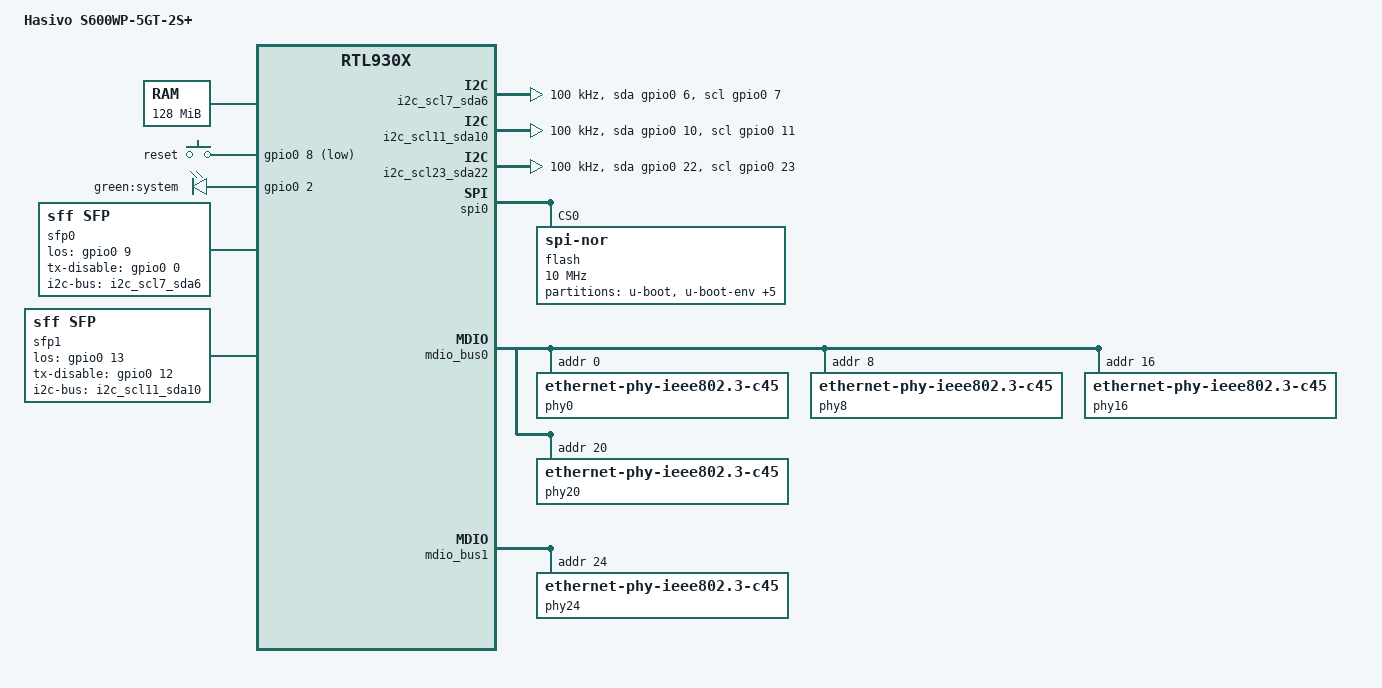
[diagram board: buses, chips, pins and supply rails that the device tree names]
// SPDX-License-Identifier: GPL-2.0-or-later
/dts-v1/;

#include "rtl930x.dtsi"

#include <dt-bindings/input/input.h>
#include <dt-bindings/gpio/gpio.h>
#include <dt-bindings/leds/common.h>

/ {
	compatible = "hasivo,s600wp-5gt-2s+";
	model = "Hasivo S600WP-5GT-2S+";

	memory@0 {
		device_type = "memory";
		reg = <0x00000000 0x08000000>; /* 128 MiB */
	};

	aliases {
		led-boot = &led_sys;
		led-failsafe = &led_sys;
		led-running = &led_sys;
		led-upgrade = &led_sys;
		label-mac-device = &ethernet0;
	};

	chosen {
		stdout-path = "serial0:38400n8";
	};

	keys {
		compatible = "gpio-keys";
		button-reset {
			label = "reset";
			gpios = <&gpio0 8 GPIO_ACTIVE_LOW>;
			linux,code = <KEY_RESTART>;
		};
	};

	leds {
		compatible = "gpio-leds";

		pinctrl-names = "default";
		pinctrl-0 = <&pinmux_disable_sys_led>;

		led_sys: led-0 {
			label = "green:system";
			gpios = <&gpio0 2 GPIO_ACTIVE_HIGH>;
			linux,default-trigger = "heartbeat";
		};
	};

	led_set: led_set {
		compatible = "realtek,rtl9300-leds";

		/* RJ45 ports */
		led_set0 = <
		(	// GREEN LEFT RJ45 - 1G link, blink on activity
			RTL93XX_LED_SET_1G |
			RTL93XX_LED_SET_LINK |
			RTL93XX_LED_SET_ACT
		)
		(	// GREEN RIGHT RJ45 - 10M/100M link, blink on activity
			RTL93XX_LED_SET_10M |
			RTL93XX_LED_SET_100M |
			RTL93XX_LED_SET_LINK |
			RTL93XX_LED_SET_ACT
		)
		(	// ORANGE LEFT RJ45 - 2.5G link, blink on activity
			RTL93XX_LED_SET_2P5G |
			RTL93XX_LED_SET_LINK |
			RTL93XX_LED_SET_ACT
		)
		>;

		/* SFP+ ports */
		led_set1 = <
		(	// GREEN TOP 10G LINK
			RTL93XX_LED_SET_10G |
			RTL93XX_LED_SET_LINK
		)
		(	// GREEN BOTTOM 1G LINK
			RTL93XX_LED_SET_1G |
			RTL93XX_LED_SET_LINK
		)
		>;
	};

	i2c_scl7_sda6: i2c {
		compatible = "i2c-gpio";
		#address-cells = <1>;
		#size-cells = <0>;

		scl-gpios = <&gpio0 7 (GPIO_ACTIVE_HIGH | GPIO_OPEN_DRAIN)>;
		sda-gpios = <&gpio0 6 (GPIO_ACTIVE_HIGH | GPIO_OPEN_DRAIN)>;
		status = "okay";

		clock-frequency = <100000>;
	};

	i2c_scl11_sda10: i2c {
		compatible = "i2c-gpio";
		#address-cells = <1>;
		#size-cells = <0>;

		scl-gpios = <&gpio0 11 (GPIO_ACTIVE_HIGH | GPIO_OPEN_DRAIN)>;
		sda-gpios = <&gpio0 10 (GPIO_ACTIVE_HIGH | GPIO_OPEN_DRAIN)>;
		status = "okay";

		clock-frequency = <100000>;
	};

	i2c_scl23_sda22: i2c {
		compatible = "i2c-gpio";
		#address-cells = <1>;
		#size-cells = <0>;

		scl-gpios = <&gpio0 23 (GPIO_ACTIVE_HIGH | GPIO_OPEN_DRAIN)>;
		sda-gpios = <&gpio0 22 (GPIO_ACTIVE_HIGH | GPIO_OPEN_DRAIN)>;
		status = "okay";

		clock-frequency = <100000>;
	};

	sfp0: sfp-p26 {
		compatible = "sff,sfp";
		i2c-bus = <&i2c_scl7_sda6>;
		los-gpio = <&gpio0 9 GPIO_ACTIVE_HIGH>;
		tx-disable-gpio = <&gpio0 0 GPIO_ACTIVE_HIGH>;
		maximum-power-milliwatt = <2900>;
		#thermal-sensor-cells = <0>;
	};

	sfp1: sfp-p27 {
		compatible = "sff,sfp";
		i2c-bus = <&i2c_scl11_sda10>;
		los-gpio = <&gpio0 13 GPIO_ACTIVE_HIGH>;
		tx-disable-gpio = <&gpio0 12 GPIO_ACTIVE_HIGH>;
		maximum-power-milliwatt = <2900>;
		#thermal-sensor-cells = <0>;
	};
};

&spi0 {
	status = "okay";

	flash@0 {
		compatible = "jedec,spi-nor";
		reg = <0>;
		spi-max-frequency = <10000000>;

		partitions {
			compatible = "fixed-partitions";
			#address-cells = <1>;
			#size-cells = <1>;

			/* stock is LOADER */
			partition@0 {
				label = "u-boot";
				reg = <0x0000000 0x00e0000>;
				read-only;
			};

			/* stock is BDINFO */
			partition@e0000 {
				label = "u-boot-env";
				reg = <0x00e0000 0x0010000>;

				nvmem-layout {
					compatible = "u-boot,env";

					macaddr_ubootenv_ethaddr: ethaddr {
						#nvmem-cell-cells = <1>;
					};
					serialnumber_ubootenv: serialnumber {
						#nvmem-cell-cells = <1>;
					};
					pse_bt_port_no_ubootenv: pse_bt_port_no {
						#nvmem-cell-cells = <1>;
					};
					pse_existed_flag_ubootenv: pse_existed_flag {
						#nvmem-cell-cells = <1>;
					};
					pse_power_bank_ubootenv: pse_power_bank {
						#nvmem-cell-cells = <1>;
					};
				};
			};

			/* stock is SYSINFO */
			partition@f0000 {
				label = "u-boot-env2";
				reg = <0x00f0000 0x0010000>;
				read-only;
			};

			/* stock is JFFS2 */
			partition@100000 {
				label = "jffs";
				reg = <0x0100000 0x0100000>;
			};

			/* stock is JFFS2 */
			partition@200000 {
				label = "jffs2";
				reg = <0x0200000 0x0100000>;
			};

			/* stock is RUNTIME */
			partition@300000 {
				compatible = "openwrt,uimage", "denx,uimage";
				label = "firmware";
				reg = <0x0300000 0x0c00000>;
			};

			/* stock is OEMINFO */
			partition@f00000 {
				label = "oeminfo";
				reg = <0x0f00000 0x0100000>;
				read-only;
			};
		};
	};
};


&ethernet0 {
	nvmem-cells = <&macaddr_ubootenv_ethaddr 0>;
	nvmem-cell-names = "mac-address";
};

&mdio_bus0 {
	/* External RTL8221B PHY */
	phy0: ethernet-phy@1 {
		reg = <0>;
		compatible = "ethernet-phy-ieee802.3-c45";
		realtek,smi-address = <1>;
	};

	/* External RTL8221B PHY */
	phy8: ethernet-phy@8 {
		reg = <8>;
		compatible = "ethernet-phy-ieee802.3-c45";
		realtek,smi-address = <2>;
	};

	/* External RTL8221B PHY */
	phy16: ethernet-phy@16 {
		reg = <16>;
		compatible = "ethernet-phy-ieee802.3-c45";
		realtek,smi-address = <3>;
	};

	/* External RTL8221B PHY */
	phy20: ethernet-phy@20 {
		reg = <20>;
		compatible = "ethernet-phy-ieee802.3-c45";
		realtek,smi-address = <4>;
	};
};

&mdio_bus1 {
	/* External RTL8221B PHY */
	phy24: ethernet-phy@24 {
		reg = <24>;
		compatible = "ethernet-phy-ieee802.3-c45";
		realtek,smi-address = <1>;
	};
};

&switch0 {
	ports {
		#address-cells = <1>;
		#size-cells = <0>;

		port@0 {
			reg = <0>;
			label = "lan1";
			pcs-handle = <&serdes2>;
			phy-handle = <&phy0>;
			phy-mode = "sgmii";
			managed = "in-band-status";
			led-set = <0>;
		};

		port@8 {
			reg = <8>;
			label = "lan2";
			pcs-handle = <&serdes3>;
			phy-handle = <&phy8>;
			phy-mode = "sgmii";
			managed = "in-band-status";
			led-set = <0>;
		};

		port@16 {
			reg = <16>;
			label = "lan3";
			pcs-handle = <&serdes4>;
			phy-handle = <&phy16>;
			phy-mode = "sgmii";
			managed = "in-band-status";
			led-set = <0>;
		};

		port@20 {
			reg = <20>;
			label = "lan4";
			pcs-handle = <&serdes5>;
			phy-handle = <&phy20>;
			phy-mode = "sgmii";
			managed = "in-band-status";
			led-set = <0>;
		};

		port@24 {
			reg = <24>;
			label = "lan5";
			pcs-handle = <&serdes6>;
			phy-handle = <&phy24>;
			phy-mode = "sgmii";
			managed = "in-band-status";
			led-set = <0>;
		};

		port@26 {
			reg = <26>;
			label = "lan6";
			pcs-handle = <&serdes8>;
			phy-mode = "1000base-x";
			managed = "in-band-status";
			sfp = <&sfp0>;
			led-set = <1>;
		};
		port@27 {
			reg = <27>;
			label = "lan7";
			pcs-handle = <&serdes9>;
			phy-mode = "1000base-x";
			managed = "in-band-status";
			sfp = <&sfp1>;
			led-set = <1>;
		};

		/* Internal SoC */
		port@28 {
			ethernet = <&ethernet0>;
			reg = <28>;
			phy-mode = "internal";

			fixed-link {
				speed = <10000>;
				full-duplex;
			};
		};
	};
};
